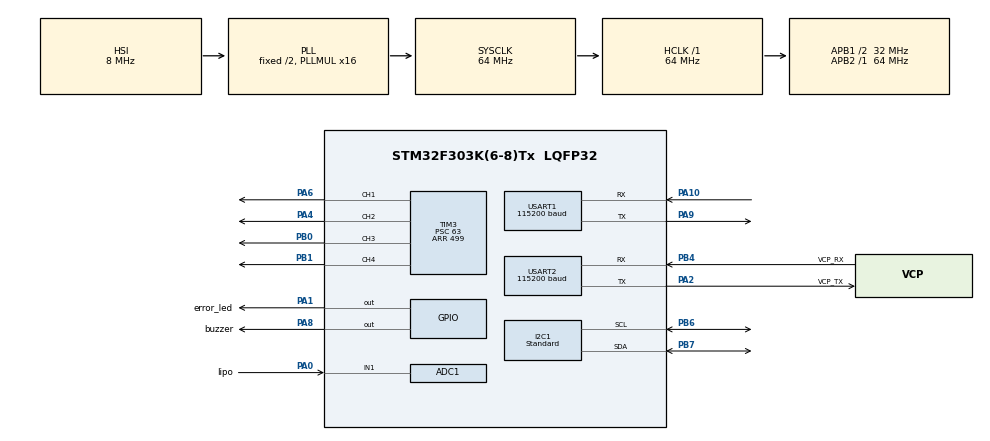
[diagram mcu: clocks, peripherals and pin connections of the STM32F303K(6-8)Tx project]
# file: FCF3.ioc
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ADC1.Channel-0\#ChannelRegularConversion=ADC_CHANNEL_1
ADC1.NbrOfConversionFlag=1
ADC1.Offset-0\#ChannelRegularConversion=0
ADC1.OffsetNumber-0\#ChannelRegularConversion=ADC_OFFSET_NONE
ADC1.Rank-0\#ChannelRegularConversion=1
ADC1.SamplingTime-0\#ChannelRegularConversion=ADC_SAMPLETIME_1CYCLE_5
ADC1.SubFamily=STM32F303x8
ADC1.master=1
Dma.Request0=USART1_RX
Dma.USART1_RX.0.Direction=DMA_PERIPH_TO_MEMORY
Dma.USART1_RX.0.Instance=DMA1_Channel5
Dma.USART1_RX.0.MemDataAlignment=DMA_MDATAALIGN_BYTE
Dma.USART1_RX.0.MemInc=DMA_MINC_ENABLE
Dma.USART1_RX.0.Mode=DMA_NORMAL
Dma.USART1_RX.0.PeriphDataAlignment=DMA_PDATAALIGN_BYTE
Dma.USART1_RX.0.PeriphInc=DMA_PINC_DISABLE
Dma.USART1_RX.0.Priority=DMA_PRIORITY_LOW
I2C1.I2C_Speed_Mode=I2C_Standard
Mcu.Family=STM32F3
Mcu.Name=STM32F303K(6-8)Tx
Mcu.Package=LQFP32
NVIC.DMA1_Channel5_IRQn=true\:0\:0\:false\:false\:true\:false\:true
NVIC.PriorityGroup=NVIC_PRIORITYGROUP_4
NVIC.USART1_IRQn=true\:0\:0\:false\:false\:true\:true\:true
PA0.GPIO_Label=lipo
PA0.Mode=IN1-Single-Ended
PA0.Signal=ADC1_IN1
PA1.GPIO_Label=error_led
PA1.GPIO_Speed=GPIO_SPEED_FREQ_MEDIUM
PA1.Signal=GPIO_Output
PA10.Mode=Asynchronous
PA10.Signal=USART1_RX
PA13.GPIO_Label=SWDIO
PA13.Mode=Serial_Wire
PA13.Signal=SYS_JTMS-SWDIO
PA14.GPIO_Label=SWCLK
PA14.Mode=Serial_Wire
PA14.Signal=SYS_JTCK-SWCLK
PA2.GPIO_Label=VCP_TX
PA2.Mode=Asynchronous
PA2.Signal=USART2_TX
PA4.Signal=S_TIM3_CH2
PA6.Signal=S_TIM3_CH1
PA8.GPIO_Label=buzzer
PA8.PinState=GPIO_PIN_SET
PA8.Signal=GPIO_Output
PA9.Mode=Asynchronous
PA9.Signal=USART1_TX
PB0.Signal=S_TIM3_CH3
PB1.Signal=S_TIM3_CH4
PB4.GPIO_Label=VCP_RX
PB4.Mode=Asynchronous
PB4.Signal=USART2_RX
PB6.Mode=I2C
PB6.Signal=I2C1_SCL
PB7.Mode=I2C
PB7.Signal=I2C1_SDA
PF0\ /\ OSC_IN.GPIO_Label=MCO
PF0\ /\ OSC_IN.Mode=HSE-External-Clock-Source
PF0\ /\ OSC_IN.Signal=RCC_OSC_IN
ProjectManager.HeapSize=0x200
ProjectManager.StackSize=0x400
ProjectManager.TargetToolchain=SW4STM32
RCC.AHBFreq_Value=64000000
RCC.APB1CLKDivider=RCC_HCLK_DIV2
RCC.APB1Freq_Value=32000000
RCC.APB1TimFreq_Value=64000000
RCC.APB2Freq_Value=64000000
RCC.APB2TimFreq_Value=64000000
RCC.CortexFreq_Value=64000000
RCC.HCLKFreq_Value=64000000
RCC.HSE_VALUE=8000000
RCC.HSI_VALUE=8000000
RCC.PLLMUL=RCC_PLL_MUL16
RCC.SYSCLKFreq_VALUE=64000000
RCC.SYSCLKSourceVirtual=RCC_SYSCLKSOURCE_PLLCLK
SH.S_TIM3_CH1.0=TIM3_CH1,PWM Generation1 CH1
SH.S_TIM3_CH2.0=TIM3_CH2,PWM Generation2 CH2
SH.S_TIM3_CH3.0=TIM3_CH3,PWM Generation3 CH3
SH.S_TIM3_CH4.0=TIM3_CH4,PWM Generation4 CH4
TIM3.Channel-PWM\ Generation1\ CH1=TIM_CHANNEL_1
TIM3.Channel-PWM\ Generation2\ CH2=TIM_CHANNEL_2
TIM3.Channel-PWM\ Generation3\ CH3=TIM_CHANNEL_3
TIM3.Channel-PWM\ Generation4\ CH4=TIM_CHANNEL_4
TIM3.Period=499
TIM3.Prescaler=63
USART1.BaudRate=115200
USART1.VirtualMode-Asynchronous=VM_ASYNC
USART2.BaudRate=115200
USART2.VirtualMode-Asynchronous=VM_ASYNC
board=NUCLEO-F303K8

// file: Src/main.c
/* USER CODE BEGIN Header */
/**
 ******************************************************************************
 * @file           : main.c
 * @brief          : Main program body
 ******************************************************************************
 * @attention
 *
 * <h2><center>&copy; Copyright (c) 2019 STMicroelectronics.
 * All rights reserved.</center></h2>
 *
 * This software component is licensed by ST under BSD 3-Clause license,
 * the "License"; You may not use this file except in compliance with the
 * License. You may obtain a copy of the License at:
 *                        opensource.org/licenses/BSD-3-Clause
 *
 ******************************************************************************
 */
/* USER CODE END Header */

#include "main.h"
#include "adc.h"
#include "dma.h"
#include "i2c.h"
#include "tim.h"
#include "usart.h"
#include "gpio.h"

/* USER CODE BEGIN Includes */
#include "interface_implementation.h"
#include "salloc.h"
#include "bmi088_accelerometer.h"
#include "bmi088_gyroscope.h"
#include "flight_controler.h"
/* USER CODE END Includes */

/* USER CODE BEGIN PTD */
bmi088_accelerometer accel;
bmi088_gyroscope gyro;
/* USER CODE END PTD */

void SystemClock_Config(void);
/* USER CODE BEGIN PFP */
void *malloc(size_t size);
/* USER CODE END PFP */

int main(void) {

	/* MCU Configuration--------------------------------------------------------*/

	/* Reset of all peripherals, Initializes the Flash interface and the Systick. */
	HAL_Init();

	/* Configure the system clock */
	SystemClock_Config();

	/* Initialize all configured peripherals */
	MX_GPIO_Init();
	MX_DMA_Init();
	MX_I2C1_Init();
	MX_USART2_UART_Init();
	MX_ADC1_Init();
	MX_TIM3_Init();
	MX_USART1_UART_Init();
	/* USER CODE BEGIN 2 */
	salloc_enable();
	gyro = bmi088_gyroscope_create(gyroscope_write_byte, gyroscope_read_byte,
				GYRO_RANGE_1000, GYRO_ODR_1000_BW_116, GYRO_NORMAL);
		if (!gyro) {
			error_handler();
		}
		uint8_t byte=2;
		data_eeprom_write_byte(0x10,byte);
		byte=0;
		byte=data_eeprom_read_byte(0x10);
		uart_dma_get_byte();
		asm("nop");

//	accel = bmi088_accelerometer_create(accelerometer_write_byte,
	//		accelerometer_read_byte, ACCEL_RANGE_3G, ACCEL_ODR_400, ACC_ACTIVE);

	//flight_controler_init();

	while (1) {

		//flight_controler_run();
	}
	/* USER CODE END 2 */

	/* Infinite loop */
	while (1) {

	}
}

void SystemClock_Config(void) {
	RCC_OscInitTypeDef RCC_OscInitStruct = { 0 };
	RCC_ClkInitTypeDef RCC_ClkInitStruct = { 0 };
	RCC_PeriphCLKInitTypeDef PeriphClkInit = { 0 };

	/** Initializes the CPU, AHB and APB busses clocks
	 */
	RCC_OscInitStruct.OscillatorType = RCC_OSCILLATORTYPE_HSI;
	RCC_OscInitStruct.HSIState = RCC_HSI_ON;
	RCC_OscInitStruct.HSICalibrationValue = RCC_HSICALIBRATION_DEFAULT;
	RCC_OscInitStruct.PLL.PLLState = RCC_PLL_ON;
	RCC_OscInitStruct.PLL.PLLSource = RCC_PLLSOURCE_HSI;
	RCC_OscInitStruct.PLL.PLLMUL = RCC_PLL_MUL16;
	if (HAL_RCC_OscConfig(&RCC_OscInitStruct) != HAL_OK) {
		Error_Handler();
	}
	/** Initializes the CPU, AHB and APB busses clocks
	 */
	RCC_ClkInitStruct.ClockType = RCC_CLOCKTYPE_HCLK | RCC_CLOCKTYPE_SYSCLK
			| RCC_CLOCKTYPE_PCLK1 | RCC_CLOCKTYPE_PCLK2;
	RCC_ClkInitStruct.SYSCLKSource = RCC_SYSCLKSOURCE_PLLCLK;
	RCC_ClkInitStruct.AHBCLKDivider = RCC_SYSCLK_DIV1;
	RCC_ClkInitStruct.APB1CLKDivider = RCC_HCLK_DIV2;
	RCC_ClkInitStruct.APB2CLKDivider = RCC_HCLK_DIV1;

	if (HAL_RCC_ClockConfig(&RCC_ClkInitStruct, FLASH_LATENCY_2) != HAL_OK) {
		Error_Handler();
	}
	PeriphClkInit.PeriphClockSelection = RCC_PERIPHCLK_USART1
			| RCC_PERIPHCLK_I2C1 | RCC_PERIPHCLK_ADC12;
	PeriphClkInit.Usart1ClockSelection = RCC_USART1CLKSOURCE_PCLK1;
	PeriphClkInit.Adc12ClockSelection = RCC_ADC12PLLCLK_DIV1;
	PeriphClkInit.I2c1ClockSelection = RCC_I2C1CLKSOURCE_HSI;
	if (HAL_RCCEx_PeriphCLKConfig(&PeriphClkInit) != HAL_OK) {
		Error_Handler();
	}
}

/* USER CODE BEGIN 4 */
void *malloc(size_t size) {
	return salloc(size);
}
/* USER CODE END 4 */

void Error_Handler(void) {
	/* USER CODE BEGIN Error_Handler_Debug */
	/* User can add his own implementation to report the HAL error return state */
	error_handler();
	/* USER CODE END Error_Handler_Debug */
}

/************************ (C) COPYRIGHT STMicroelectronics *****END OF FILE****/
